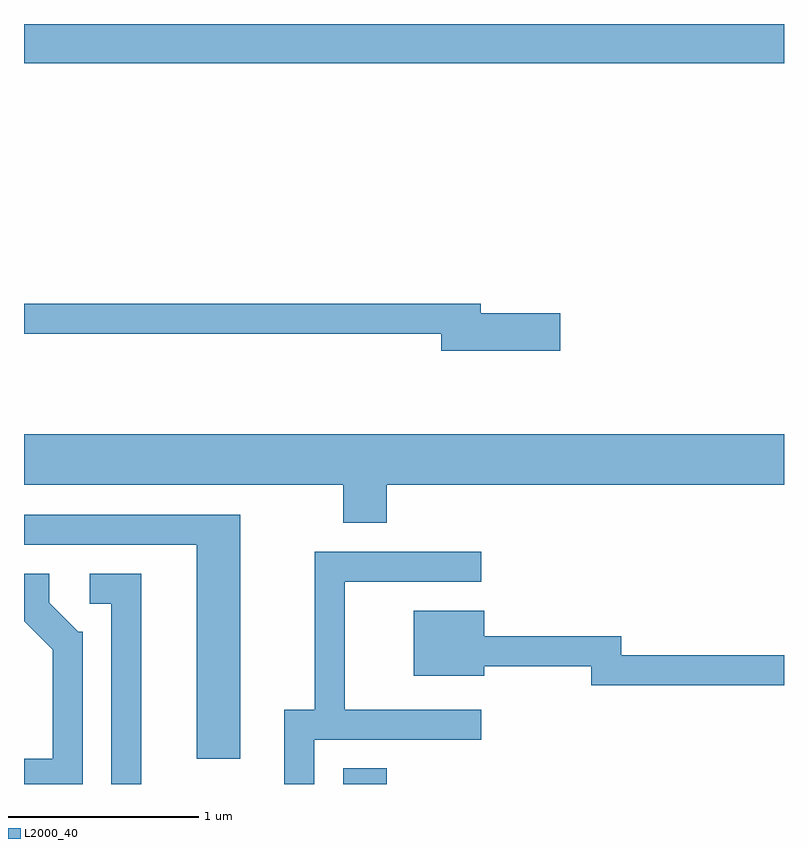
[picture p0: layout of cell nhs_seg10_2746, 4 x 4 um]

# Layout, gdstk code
import gdstk
lib = gdstk.Library(unit=1e-6, precision=1e-09)
def R(c, l, rs):  # rectangles x0, y0, x1, y1
    for r in rs: c.add(gdstk.rectangle(r[:2], r[2:], *l))
def P(c, l, *ps):  # polygons
    for p in ps: c.add(gdstk.Polygon(p, *l))
L2000_40 = (2000, 40)

nhs_seg10_2746 = lib.new_cell('nhs_seg10_2746')
R(nhs_seg10_2746, L2000_40, [(267.291,2154.522,267.519,2154.604), (265.611,2158.316,269.611,2158.522)])
P(nhs_seg10_2746, L2000_40, [(268.434,2156.999),(268.014,2156.999),(268.014,2157.049),(265.611,2157.049),(265.611,2156.891),(267.806,2156.891),(267.806,2156.801),(268.434,2156.801)],
  [(267.519,2156.096),(269.611,2156.096),(269.611,2156.364),(265.611,2156.364),(265.611,2156.096),(267.291,2156.096),(267.291,2155.896),(267.519,2155.896)],
  [(266.749,2155.939),(265.611,2155.939),(265.611,2155.781),(266.521,2155.781),(266.521,2154.656),(266.749,2154.656)],
  [(267.139,2154.756),(268.018,2154.756),(268.018,2154.914),(267.299,2154.914),(267.299,2155.586),(268.018,2155.586),(268.018,2155.744),(267.141,2155.744),(267.141,2154.914),(266.981,2154.914),(266.981,2154.522),(267.139,2154.522)],
  [(266.229,2155.629),(265.958,2155.629),(265.958,2155.471),(266.071,2155.471),(266.071,2154.522),(266.229,2154.522)],
  [(265.919,2155.324),(265.897,2155.324),(265.744,2155.477),(265.744,2155.629),(265.611,2155.629),(265.611,2155.379),(265.761,2155.229),(265.761,2154.654),(265.611,2154.654),(265.611,2154.522),(265.919,2154.522)],
  [(269.611,2155.199),(268.754,2155.199),(268.754,2155.299),(268.034,2155.299),(268.034,2155.434),(267.661,2155.434),(267.661,2155.091),(268.034,2155.091),(268.034,2155.141),(268.596,2155.141),(268.596,2155.041),(269.611,2155.041)])

lib.write_gds('nhs_seg10_2746.gds')
